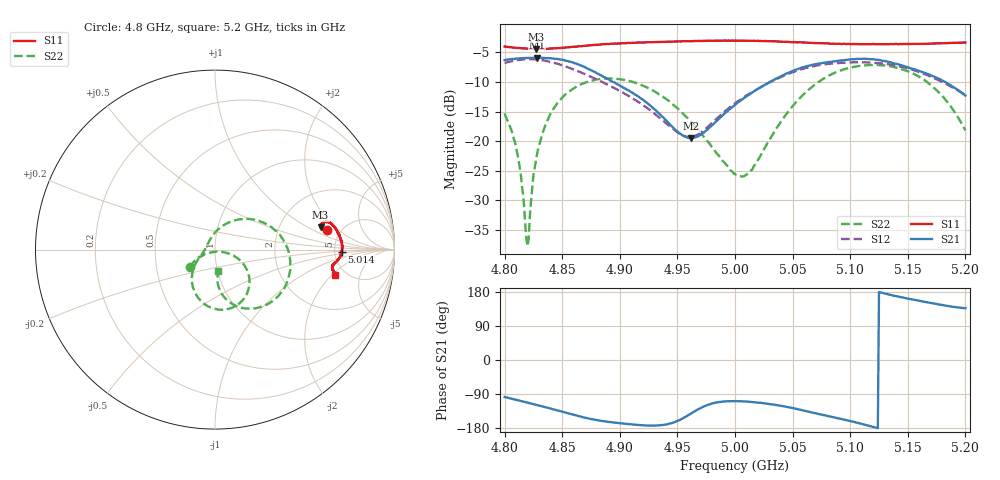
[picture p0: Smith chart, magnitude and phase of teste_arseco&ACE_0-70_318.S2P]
! Network Analyzer HP8722D
! Hewlett-Packard
! Data name: Linha & Wilkinson
! Saver's name: Rodrigo Anjos
! Comments: Teste da utilização de aquisição
! continua pelo VNA HP8722D
! Time and date: 8/5/2025 15:24
!  Frequency  S11  S21  S12  S22
# HZ  S  MA R 50
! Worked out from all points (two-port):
!   401 points, 4.8 GHz to 5.2 GHz, reference 50 ohm
!   highest |S21| = -5.88 dB at 4.828 GHz (marker M1); lowest = -19.5 dB at 4.962 GHz (marker M2)
!   |S21| within 3 dB of the highest: start of sweep to 4.884 GHz; 5.041 GHz to 5.17 GHz (128.7 MHz wide, 2.52 % of centre)
!   lowest |S11| = -4.4 dB at 4.827 GHz (marker M3), VSWR 4.01, Z = 173 + j67.1 ohm
!   |S11| at or under -10 dB: nowhere
!   |S22| runs from -37.8 to -7.1 dB; largest |S21 - S12| = 0.11
!   S11 on the Smith chart (normalised r, x): 4.8 GHz: 3.90, +1.38; 5.014 GHz: 5.81, -0.28; 5.2 GHz: 4.12, -2.15
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4.8e9  0.631 9.7  0.4845 -97.6  0.4591 -84.8  0.1717 -145.8
4.811e9  0.6134 10.4  0.4995 -105.9  0.4843 -95.1  0.07845 -154.3
4.815e9  0.611 10.7  0.5022 -108.8  0.4885 -99.0  0.0421 -153.5
4.819e9  0.6079 11.2  0.5048 -111.9  0.4925 -102.8  0.01462 -116.3
4.821e9  0.604 11.4  0.5059 -113.5  0.4918 -105.0  0.0154 -39.5
4.824e9  0.6019 11.7  0.5072 -115.8  0.4924 -107.9  0.04035 -19.2
4.827e9  0.6012 11.9  0.5067 -117.9  0.4901 -110.8  0.06736 -15.8
4.828e9  0.6038 12.1  0.5082 -118.7  0.4904 -111.7  0.07603 -16.5
4.834e9  0.6016 12.6  0.5053 -123.5  0.4816 -117.4  0.125 -19.8
4.842e9  0.6072 13.4  0.4999 -129.8  0.461 -124.6  0.1852 -28.0
4.867e9  0.635 14.1  0.4326 -150.5  0.378 -142.6  0.3047 -54.5
4.898e9  0.6698 11.9  0.302 -165.9  0.2717 -156.7  0.3361 -85.0
4.934e9  0.6886 8.1  0.1714 -172.5  0.159 -159.9  0.2487 -118.7
4.962e9  0.6991 5.4  0.1059 -140.7  0.1086 -129.6  0.1446 -141.8
5e9  0.709 1.1  0.2025 -108.7  0.2092 -103.4  0.05287 172.0
5.014e9  0.707 -1.0  0.2548 -110.7  0.2572 -106.4  0.05667 126.0
5.043e9  0.6928 -4.1  0.3652 -122.7  0.3597 -118.9  0.1616 65.1
5.067e9  0.6773 -5.8  0.4418 -138.6  0.4271 -134.7  0.2876 33.9
5.101e9  0.6619 -7.2  0.4919 -161.8  0.4626 -158.0  0.4202 -6.5
5.134e9  0.6613 -8.3  0.4656 172.4  0.4454 179.5  0.4304 -41.5
5.171e9  0.6701 -10.1  0.3572 150.0  0.3477 155.6  0.2934 -75.9
5.2e9  0.6825 -11.8  0.243 136.6  0.2435 143.5  0.1235 -81.0
